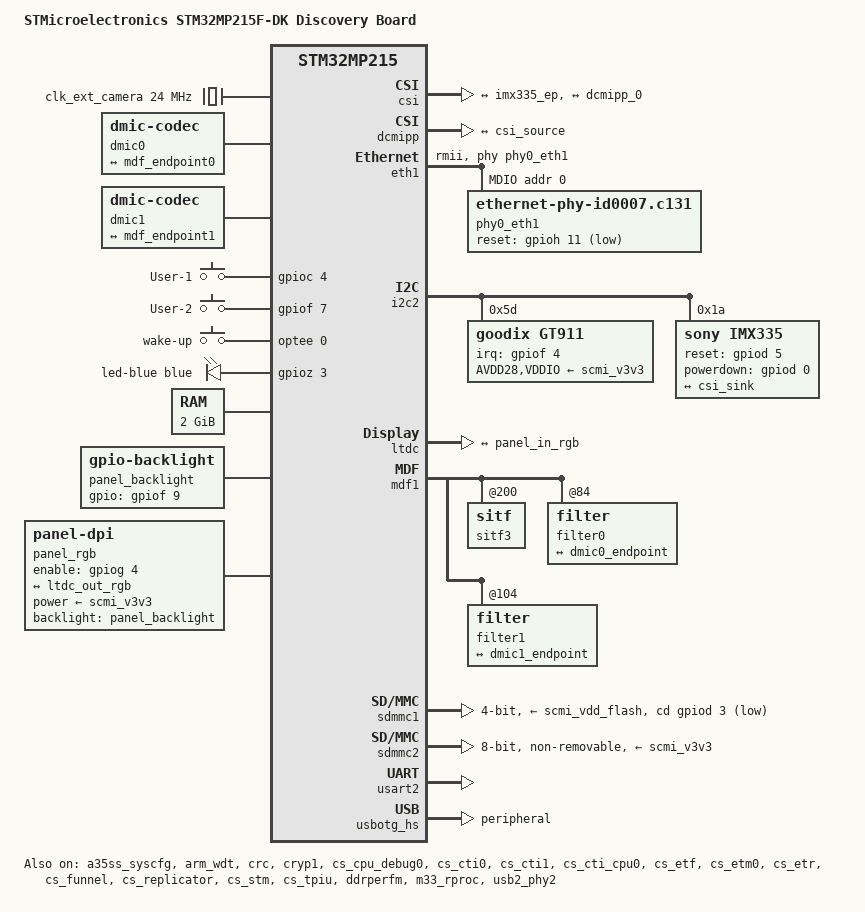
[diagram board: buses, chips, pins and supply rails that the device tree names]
// SPDX-License-Identifier: (GPL-2.0-only OR BSD-3-Clause)
/*
 * Copyright (C) STMicroelectronics 2024 - All Rights Reserved
 * Author: Amelie Delaunay <amelie.delaunay@foss.st.com> for STMicroelectronics.
 */

/dts-v1/;

#include <dt-bindings/gpio/gpio.h>
#include <dt-bindings/leds/common.h>
#include <dt-bindings/input/input.h>
#include "stm32mp215.dtsi"
#include "stm32mp21xf.dtsi"
#include "stm32mp21-pinctrl.dtsi"
#include "stm32mp21xxan-pinctrl.dtsi"
#include "stm32mp215f-dk-ca35tdcid-resmem.dtsi"

/ {
	model = "STMicroelectronics STM32MP215F-DK Discovery Board";
	compatible = "st,stm32mp215f-dk", "st,stm32mp215";

	aliases {
		ethernet0 = &eth1;
		serial0 = &usart2;
		serial1 = &usart6;
		serial2 = &uart4;
		serial3 = &usart1;
	};

	chosen {
		stdout-path = "serial0:115200n8";
		#address-cells = <2>;
		#size-cells = <2>;
		ranges;

		framebuffer {
			compatible = "simple-framebuffer";
			clocks = <&rcc CK_KER_LTDC>;
			status = "disabled";
		};
	};

	clocks {
		clk_ext_camera: clk-ext-camera {
			#clock-cells = <0>;
			compatible = "fixed-clock";
			clock-frequency = <24000000>;
		};
	};

	dmic0: dmic-0 {
		compatible = "dmic-codec";
		#sound-dai-cells = <1>;
		sound-name-prefix = "dmic0";
		status = "okay";

		port {
			dmic0_endpoint: endpoint {
				remote-endpoint = <&mdf_endpoint0>;
			};
		};
	};

	dmic1: dmic-1 {
		compatible = "dmic-codec";
		#sound-dai-cells = <1>;
		sound-name-prefix = "dmic1";
		status = "okay";

		port {
			dmic1_endpoint: endpoint {
				remote-endpoint = <&mdf_endpoint1>;
			};
		};
	};

	gpio-keys {
		compatible = "gpio-keys";

		button-user-1 {
			label = "User-1";
			linux,code = <BTN_1>;
			gpios = <&gpioc 4 GPIO_ACTIVE_HIGH>;
			status = "okay";
		};

		button-user-2 {
			label = "User-2";
			linux,code = <BTN_2>;
			gpios = <&gpiof 7 GPIO_ACTIVE_HIGH>;
			status = "okay";
		};

		button-wake-up {
			label = "wake-up";
			linux,code = <KEY_WAKEUP>;
			interrupts-extended = <&optee 0>;
			status = "okay";
		};
	};

	gpio-leds {
		compatible = "gpio-leds";

		led-blue {
			function = LED_FUNCTION_HEARTBEAT;
			color = <LED_COLOR_ID_BLUE>;
			gpios = <&gpioz 3 GPIO_ACTIVE_HIGH>;
			linux,default-trigger = "heartbeat";
			default-state = "off";
		};
	};

	memory@80000000 {
		device_type = "memory";
		reg = <0x0 0x80000000 0x0 0x80000000>;
	};

	panel_backlight: panel-backlight {
		compatible = "gpio-backlight";
		gpios = <&gpiof 9 GPIO_ACTIVE_HIGH>;
		default-on;
		default-brightness-level = <1>;
		status = "okay";
	};

	panel_rgb: panel-rgb {
		compatible = "panel-dpi";
		enable-gpios = <&gpiog 4 GPIO_ACTIVE_HIGH>;
		backlight = <&panel_backlight>;
		power-supply = <&scmi_v3v3>;
		data-mapping = "bgr666";
		status = "okay";

		width-mm = <105>;
		height-mm = <67>;

		port {
			panel_in_rgb: endpoint {
				remote-endpoint = <&ltdc_out_rgb>;
			};
		};

		panel-timing {
			clock-frequency = <10000000>;
			hactive = <480>;
			vactive = <272>;
			hsync-len = <52>;
			hfront-porch = <10>;
			hback-porch = <10>;
			vsync-len = <10>;
			vfront-porch = <10>;
			vback-porch = <10>;
			hsync-active = <0>;
			vsync-active = <0>;
			de-active = <1>;
			pixelclk-active = <1>;
		};
	};

	sound {
		compatible = "audio-graph-card";
		label = "STM32MP21-DK";
		dais = <&mdf1_port0 &mdf1_port1>;
		status = "okay";
	};
};

&a35ss_syscfg {
	status = "okay";
};

&arm_wdt {
	timeout-sec = <32>;
	status = "okay";
};

&crc {
	status = "okay";
};

&cryp1 {
	status = "okay";
};

&cs_cpu_debug0 {
	status = "okay";
};

&cs_cti0 {
	status = "okay";
};

&cs_cti1 {
	status = "okay";
};

&cs_cti_cpu0 {
	status = "okay";
};

&cs_etf {
	status = "okay";
};

&cs_etm0 {
	status = "okay";
};

&cs_etr {
	status = "okay";
};

&cs_funnel {
	status = "okay";
};

&cs_replicator {
	status = "okay";
};

&cs_stm {
	status = "okay";
};

&cs_tpiu {
	status = "okay";
};

&csi {
	vdd-supply =  <&scmi_vddcore>;
	vdda18-supply = <&scmi_vdda_1v8>;
	status = "okay";
	ports {
		#address-cells = <1>;
		#size-cells = <0>;
		port@0 {
			reg = <0>;
			csi_sink: endpoint {
				remote-endpoint = <&imx335_ep>;
				data-lanes = <0 1>;
				bus-type = <4>;
			};
		};
		port@1 {
			reg = <1>;
			csi_source: endpoint {
				remote-endpoint = <&dcmipp_0>;
			};
		};
	};
};

&dcmipp {
	status = "okay";
	port {
		dcmipp_0: endpoint {
			remote-endpoint = <&csi_source>;
			bus-type = <4>;
		};
	};
};

&ddrperfm {
	st,dram-type = <0>;
	status = "okay";
};

&eth1 {
	status = "okay";
	pinctrl-0 = <&eth1_rmii_pins_a>;
	pinctrl-1 = <&eth1_rmii_sleep_pins_a>;
	pinctrl-names = "default", "sleep";
	phy-mode = "rmii";
	max-speed = <100>;
	phy-handle = <&phy0_eth1>;
	st,ext-phyclk;

	mdio1 {
		#address-cells = <1>;
		#size-cells = <0>;
		compatible = "snps,dwmac-mdio";

		phy0_eth1: ethernet-phy@0 {
			compatible = "ethernet-phy-id0007.c131";
			reset-gpios =  <&gpioh 11 GPIO_ACTIVE_LOW>;
			reset-assert-us = <1000>;
			reset-deassert-us = <30000>;
			reg = <0>;
		};
	};
};

&i2c2 {
	pinctrl-names = "default", "sleep";
	pinctrl-0 = <&i2c2_pins_a>;
	pinctrl-1 = <&i2c2_sleep_pins_a>;
	status = "okay";

	goodix: goodix-ts@5d {
		compatible = "goodix,gt911";
		reg = <0x5d>;
		pinctrl-names = "default";
		pinctrl-0 = <&goodix_pins_a>;
		interrupt-parent = <&gpiof>;
		interrupts = <4 IRQ_TYPE_EDGE_FALLING>;
		AVDD28-supply = <&scmi_v3v3>;
		VDDIO-supply = <&scmi_v3v3>;
		touchscreen-size-x = <480>;
		touchscreen-size-y = <272>;
		status = "okay" ;
	};

	imx335: imx335@1a {
		compatible = "sony,imx335";
		reg = <0x1a>;
		clocks = <&clk_ext_camera>;
		reset-gpios = <&gpiod 5 (GPIO_ACTIVE_HIGH | GPIO_PUSH_PULL)>;
		powerdown-gpios = <&gpiod 0 (GPIO_ACTIVE_HIGH | GPIO_PUSH_PULL)>;
		status = "okay";

		port {
			imx335_ep: endpoint {
				remote-endpoint = <&csi_sink>;
				clock-lanes = <0>;
				data-lanes = <1 2>;
				link-frequencies = /bits/ 64 <594000000>;
			};
		};
	};
};

&i3c1 {
	pinctrl-names = "default", "init", "sleep";
	pinctrl-0 = <&i3c1_pins_a>;
	pinctrl-1 = <&i3c1_init_pins_a>;
	pinctrl-2 = <&i3c1_sleep_pins_a>;
	status = "disabled";
};

&i3c2 {
	pinctrl-names = "default", "init", "sleep";
	pinctrl-0 = <&i3c2_pins_a>;
	pinctrl-1 = <&i3c2_init_pins_a>;
	pinctrl-2 = <&i3c2_sleep_pins_a>;
	status = "disabled";
};

&ipcc1 {
	status = "okay";
};

&ltdc {
	pinctrl-names = "default", "sleep";
	pinctrl-0 = <&ltdc_pins_a>;
	pinctrl-1 = <&ltdc_sleep_pins_a>;
	default-on;
	status = "okay";

	port {
		ltdc_out_rgb: endpoint {
			remote-endpoint = <&panel_in_rgb>;
		};
	};
};

&mdf1 {
	pinctrl-names = "default", "sleep";
	pinctrl-0 = <&mdf_cck0_pins_a>;
	pinctrl-1 = <&mdf_cck0_sleep_pins_a>;
	#clock-cells = <1>;
	clock-output-names = "cck0";
	clock-frequency = <1536000>;
	status = "okay";

	sitf3: sitf@200 {
		pinctrl-names = "default", "sleep";
		pinctrl-0 = <&mdf_sdi3_pins_a>;
		pinctrl-1 = <&mdf_sdi3_sleep_pins_a>;
		st,sitf-mode = "spi";
		clocks = <&mdf1 0>;
		status = "okay";
	};

	filter0: filter@84  {
		st,cic-mode = <4>;
		st,sitf = <&sitf3 0>;
		st,hpf-filter-cutoff-bp = <625>;
		status = "okay";

		asoc_pdm0: mdf-dai {
			compatible = "st,stm32mp25-mdf-dai";
			#sound-dai-cells = <0>;
			io-channels = <&filter0 0>;
			power-domains = <&RET_PD>;
			status = "okay";
			mdf1_port0: port {
				mdf_endpoint0: endpoint {
					remote-endpoint = <&dmic0_endpoint>;
				};
			};
		};
	};

	filter1: filter@104  {
		st,cic-mode = <4>;
		st,sitf = <&sitf3 1>;
		st,hpf-filter-cutoff-bp = <625>;
		status = "okay";

		asoc_pdm1: mdf-dai {
			compatible = "st,stm32mp25-mdf-dai";
			#sound-dai-cells = <0>;
			io-channels = <&filter1 0>;
			power-domains = <&RET_PD>;
			status = "okay";

			mdf1_port1: port {
				mdf_endpoint1: endpoint {
					remote-endpoint = <&dmic1_endpoint>;
				};
			};
		};
	};
};

&scmi_regu {
	scmi_vddcore: regulator@5  {
		reg = <VOLTD_SCMI_STPMIC_BUCK1>;
		regulator-name = "vddcore";
	};
	scmi_vdd3v3_usb: regulator@15  {
		reg = <VOLTD_SCMI_STPMIC_LDO4>;
		regulator-name = "vdd3v3_usb";
	};
	scmi_vdd_flash: regulator@16  {
		reg = <VOLTD_SCMI_STPMIC_LDO5>;
		regulator-name = "vdd_flash";
	};
	scmi_vdda_1v8: regulator@17  {
		reg = <VOLTD_SCMI_STPMIC_LDO6>;
		regulator-name = "vdda_1v8";
	};
	scmi_v3v3: regulator@21  {
		reg = <VOLTD_SCMI_STPMIC_GPO1>;
		regulator-name = "v3v3";
	};
};

&m33_rproc {
	mboxes = <&ipcc1 0x0>, <&ipcc1 0x1>, <&ipcc1 2>;
	mbox-names = "vq0", "vq1", "shutdown";
	memory-region = <&cm33_cube_fw>, <&cm33_cube_data>,
			<&ipc_shmem_1>, <&vdev0vring0>,
			<&vdev0vring1>, <&vdev0buffer>;
	st,syscfg-nsvtor = <&a35ss_syscfg 0xa8 0xffffff80>;
	status = "okay";
};

&sdmmc1 {
	pinctrl-names = "default", "opendrain", "sleep";
	pinctrl-0 = <&sdmmc1_b4_pins_a>;
	pinctrl-1 = <&sdmmc1_b4_od_pins_a>;
	pinctrl-2 = <&sdmmc1_b4_sleep_pins_a>;
	cd-gpios = <&gpiod 3 (GPIO_ACTIVE_LOW | GPIO_PULL_UP)>;
	disable-wp;
	st,neg-edge;
	bus-width = <4>;
	vmmc-supply = <&scmi_vdd_flash>;
	vqmmc-supply = <&scmi_vddio1>;
	status = "okay";
};

&sdmmc2 {
	pinctrl-names = "default", "opendrain", "sleep";
	pinctrl-0 = <&sdmmc2_b4_pins_a &sdmmc2_d47_pins_a>;
	pinctrl-1 = <&sdmmc2_b4_od_pins_a &sdmmc2_d47_pins_a>;
	pinctrl-2 = <&sdmmc2_b4_sleep_pins_a &sdmmc2_d47_sleep_pins_a>;
	non-removable;
	no-sd;
	no-sdio;
	st,neg-edge;
	bus-width = <8>;
	vmmc-supply = <&scmi_v3v3>;
	vqmmc-supply = <&scmi_vddio2>;
	mmc-ddr-1_8v;
	mmc-hs200-1_8v;
	status = "okay";
};

&spi1 {
	pinctrl-names = "default", "sleep";
	pinctrl-0 = <&spi1_pins_a>;
	pinctrl-1 = <&spi1_sleep_pins_a>;
	status = "disabled";
};

&uart4 {
	pinctrl-names = "default", "idle", "sleep";
	pinctrl-0 = <&uart4_pins_a>;
	pinctrl-1 = <&uart4_idle_pins_a>;
	pinctrl-2 = <&uart4_sleep_pins_a>;
	/delete-property/dmas;
	/delete-property/dma-names;
	status = "disabled";
};

&usart2 {
	pinctrl-names = "default", "idle", "sleep";
	pinctrl-0 = <&usart2_pins_a>;
	pinctrl-1 = <&usart2_idle_pins_a>;
	pinctrl-2 = <&usart2_sleep_pins_a>;
	/delete-property/dmas;
	/delete-property/dma-names;
	status = "okay";
};

/* Bluetooth */
&usart1 {
	pinctrl-names = "default", "sleep", "idle";
	pinctrl-0 = <&usart1_pins_a>;
	pinctrl-1 = <&usart1_sleep_pins_a>;
	pinctrl-2 = <&usart1_idle_pins_a>;
	uart-has-rtscts;
	status = "disabled";
};

&usart6 {
	pinctrl-names = "default", "idle", "sleep";
	pinctrl-0 = <&usart6_pins_a>;
	pinctrl-1 = <&usart6_idle_pins_a>;
	pinctrl-2 = <&usart6_sleep_pins_a>;
	uart-has-rtscts;
	status = "disabled";
};

&usb2_phy2 {
	vdd33-supply = <&scmi_vdd3v3_usb>;
	status = "okay";
};

&usbotg_hs {
	role-switch-default-mode = "peripheral";
	dr_mode = "peripheral";
	usb-role-switch;
	status = "okay";
};
